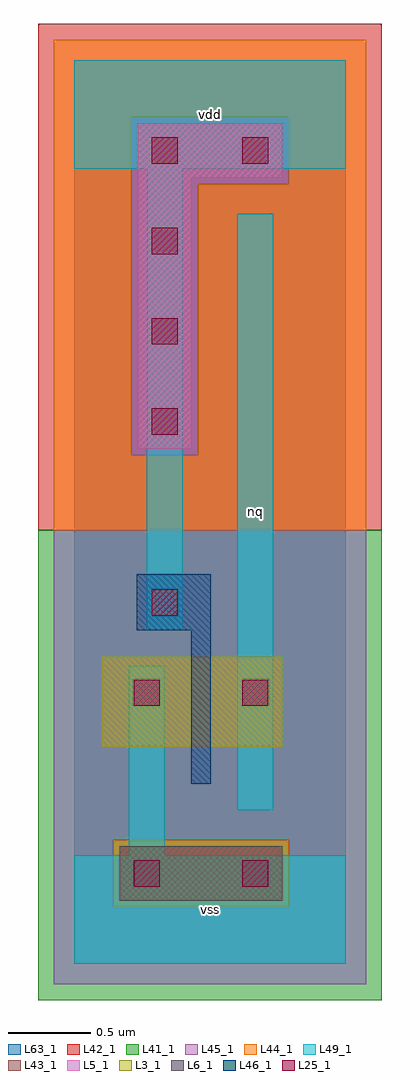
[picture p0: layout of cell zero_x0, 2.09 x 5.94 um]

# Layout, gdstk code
import gdstk
lib = gdstk.Library(unit=1e-6, precision=1e-09)
def R(c, l, rs):  # rectangles x0, y0, x1, y1
    for r in rs: c.add(gdstk.rectangle(r[:2], r[2:], *l))
def A(c, l, x, y, w, h, nx, ny, dx, dy):  # array of equal rectangles
    R(c, l, [(x+i*dx, y+j*dy, x+i*dx+w, y+j*dy+h) for i in range(nx) for j in range(ny)])
L3_1 = (3, 1)
L5_1 = (5, 1)
L6_1 = (6, 1)
L25_1 = (25, 1)
L41_1 = (41, 1)
L42_1 = (42, 1)
L43_1 = (43, 1)
L44_1 = (44, 1)
L45_1 = (45, 1)
L46_1 = (46, 1)
L49_1 = (49, 1)
L63_1 = (63, 1)

zero_x0 = lib.new_cell('zero_x0')
R(zero_x0, L3_1, [(0.165,1.32,1.265,1.87)])
R(zero_x0, L5_1, [(0.385,3.135,0.715,4.785), (0.385,4.785,1.265,5.115)])
R(zero_x0, L6_1, [(0.275,0.385,1.265,0.715)])
A(zero_x0, L25_1, 0.47, 3.22, 0.16, 0.16, 1, 4, 0, 0.55)
R(zero_x0, L25_1, [(0.36,0.47,0.52,0.63), (1.02,0.47,1.18,0.63), (0.36,1.57,0.52,1.73), (1.02,1.57,1.18,1.73), (0.47,2.12,0.63,2.28), (1.02,4.87,1.18,5.03)])
R(zero_x0, L41_1, [(-0.22,-0.22,1.87,2.64)])
R(zero_x0, L42_1, [(-0.22,2.64,1.87,5.72)])
R(zero_x0, L43_1, [(0.275,0.385,1.265,0.715), (0.165,1.32,1.265,1.87), (0.385,3.135,0.715,4.785), (0.385,4.785,1.265,5.115)])
R(zero_x0, L44_1, [(0.235,0.345,1.305,0.755), (-0.125,2.64,1.775,3.095), (-0.125,3.095,0.345,5.155), (0.755,3.095,1.775,4.745), (1.305,4.745,1.775,5.155), (-0.125,5.155,1.775,5.625)])
R(zero_x0, L45_1, [(-0.125,-0.125,1.775,0.345), (-0.125,0.345,0.235,0.755), (1.305,0.345,1.775,0.755), (-0.125,0.755,1.775,2.64), (0.345,3.095,0.755,4.745), (0.345,4.745,1.305,5.155)])
R(zero_x0, L46_1, [(0.71,1.095,0.83,2.03), (0.38,2.03,0.83,2.37)])
R(zero_x0, L49_1, [(0,0,1.65,0.66), (0.33,0.66,0.55,1.815), (0.99,0.935,1.21,4.565), (0.44,2.035,0.66,4.84), (0,4.84,1.65,5.5)])
R(zero_x0, L63_1, [(0,0,1.65,5.5)])
zero_x0.add(gdstk.Label('vss', (0.825,0.33), layer=49, texttype=1))
zero_x0.add(gdstk.Label('nq', (1.1,2.75), layer=49, texttype=1))
zero_x0.add(gdstk.Label('vdd', (0.825,5.17), layer=49, texttype=1))

lib.write_gds('zero_x0.gds')
